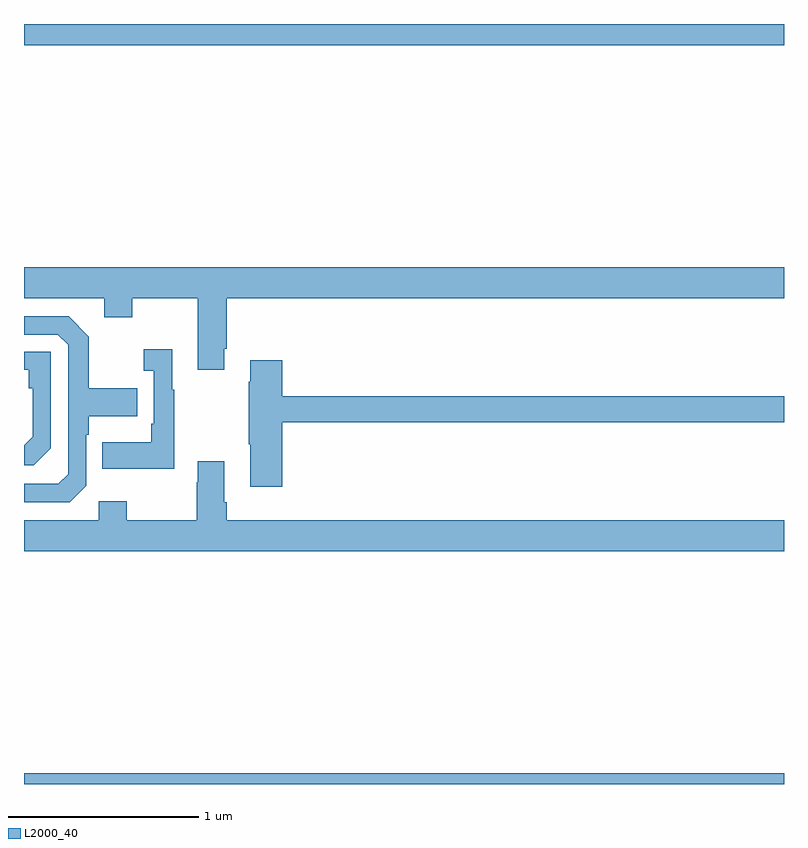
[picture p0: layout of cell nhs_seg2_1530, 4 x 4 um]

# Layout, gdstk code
import gdstk
lib = gdstk.Library(unit=1e-6, precision=1e-09)
def R(c, l, rs):  # rectangles x0, y0, x1, y1
    for r in rs: c.add(gdstk.rectangle(r[:2], r[2:], *l))
def P(c, l, *ps):  # polygons
    for p in ps: c.add(gdstk.Polygon(p, *l))
L2000_40 = (2000, 40)

nhs_seg2_1530 = lib.new_cell('nhs_seg2_1530')
R(nhs_seg2_1530, L2000_40, [(191,591.8,195,591.856), (191,595.688,195,595.8)])
P(nhs_seg2_1530, L2000_40, [(192.055,594.091),(192.068,594.091),(192.068,594.356),(195,594.356),(195,594.52),(191,594.52),(191,594.356),(191.423,594.356),(191.423,594.257),(191.571,594.257),(191.571,594.356),(191.915,594.356),(191.915,593.979),(192.055,593.979)],
  [(191.328,593.37),(191.328,593.639),(191.341,593.639),(191.341,593.735),(191.597,593.735),(191.597,593.883),(191.341,593.883),(191.341,594.155),(191.235,594.261),(191,594.261),(191,594.165),(191.178,594.165),(191.232,594.111),(191.232,593.43),(191.181,593.379),(191,593.379),(191,593.283),(191.241,593.283)],
  [(191.791,593.875),(191.779,593.875),(191.779,594.088),(191.631,594.088),(191.631,593.975),(191.682,593.975),(191.682,593.695),(191.67,593.695),(191.67,593.599),(191.413,593.599),(191.413,593.459),(191.791,593.459)],
  [(191.142,593.568),(191.142,594.075),(191,594.075),(191,593.979),(191.026,593.979),(191.026,593.882),(191.046,593.882),(191.046,593.628),(191,593.582),(191,593.478),(191.052,593.478)],
  [(192.359,593.704),(195,593.704),(195,593.84),(192.359,593.84),(192.359,594.031),(192.191,594.031),(192.191,593.918),(192.184,593.918),(192.184,593.587),(192.191,593.587),(192.191,593.364),(192.359,593.364)],
  [(195,593.188),(192.068,593.188),(192.068,593.284),(192.055,593.284),(192.055,593.5),(191.915,593.5),(191.915,593.387),(191.908,593.387),(191.908,593.188),(191.541,593.188),(191.541,593.287),(191.394,593.287),(191.394,593.188),(191,593.188),(191,593.024),(195,593.024)])

lib.write_gds('nhs_seg2_1530.gds')
